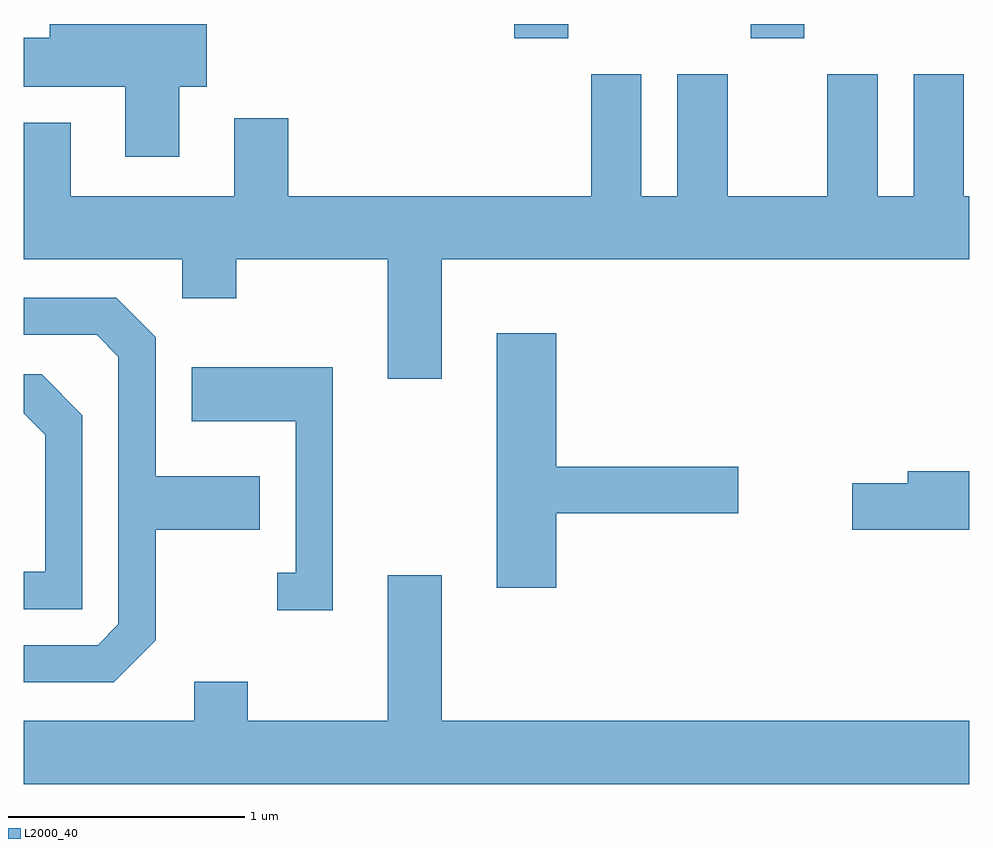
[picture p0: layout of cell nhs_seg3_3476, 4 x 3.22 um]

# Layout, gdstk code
import gdstk
lib = gdstk.Library(unit=1e-6, precision=1e-09)
def R(c, l, rs):  # rectangles x0, y0, x1, y1
    for r in rs: c.add(gdstk.rectangle(r[:2], r[2:], *l))
def P(c, l, *ps):  # polygons
    for p in ps: c.add(gdstk.Polygon(p, *l))
L2000_40 = (2000, 40)

nhs_seg3_3476 = lib.new_cell('nhs_seg3_3476')
R(nhs_seg3_3476, L2000_40, [(289.686,1135.831,289.914,1135.892), (290.686,1135.831,290.914,1135.892)])
P(nhs_seg3_3476, L2000_40, [(288.269,1135.626),(288.384,1135.626),(288.384,1135.892),(287.721,1135.892),(287.721,1135.834),(287.611,1135.834),(287.611,1135.626),(288.041,1135.626),(288.041,1135.331),(288.269,1135.331)],
  [(289.379,1134.896),(291.611,1134.896),(291.611,1135.164),(291.589,1135.164),(291.589,1135.679),(291.376,1135.679),(291.376,1135.164),(291.224,1135.164),(291.224,1135.679),(291.011,1135.679),(291.011,1135.164),(290.589,1135.164),(290.589,1135.679),(290.376,1135.679),(290.376,1135.164),(290.224,1135.164),(290.224,1135.679),(290.011,1135.679),(290.011,1135.164),(288.729,1135.164),(288.729,1135.494),(288.501,1135.494),(288.501,1135.164),(287.809,1135.164),(287.809,1135.474),(287.611,1135.474),(287.611,1134.896),(288.281,1134.896),(288.281,1134.731),(288.509,1134.731),(288.509,1134.896),(289.151,1134.896),(289.151,1134.391),(289.379,1134.391)],
  [(288.169,1133.284),(288.169,1133.751),(288.609,1133.751),(288.609,1133.979),(288.169,1133.979),(288.169,1134.567),(288.002,1134.734),(287.611,1134.734),(287.611,1134.576),(287.919,1134.576),(288.011,1134.484),(288.011,1133.352),(287.924,1133.264),(287.611,1133.264),(287.611,1133.106),(287.992,1133.106)],
  [(289.864,1133.821),(290.634,1133.821),(290.634,1134.019),(289.864,1134.019),(289.864,1134.584),(289.611,1134.584),(289.611,1133.506),(289.864,1133.506)],
  [(288.919,1134.439),(288.321,1134.439),(288.321,1134.211),(288.761,1134.211),(288.761,1133.569),(288.683,1133.569),(288.683,1133.411),(288.919,1133.411)],
  [(287.859,1134.237),(287.687,1134.409),(287.611,1134.409),(287.611,1134.244),(287.701,1134.154),(287.701,1133.574),(287.611,1133.574),(287.611,1133.416),(287.859,1133.416)],
  [(291.611,1133.999),(291.351,1133.999),(291.351,1133.949),(291.116,1133.949),(291.116,1133.751),(291.611,1133.751)],
  [(291.611,1132.944),(289.379,1132.944),(289.379,1133.559),(289.151,1133.559),(289.151,1132.944),(288.559,1132.944),(288.559,1133.109),(288.331,1133.109),(288.331,1132.944),(287.611,1132.944),(287.611,1132.676),(291.611,1132.676)])

lib.write_gds('nhs_seg3_3476.gds')
